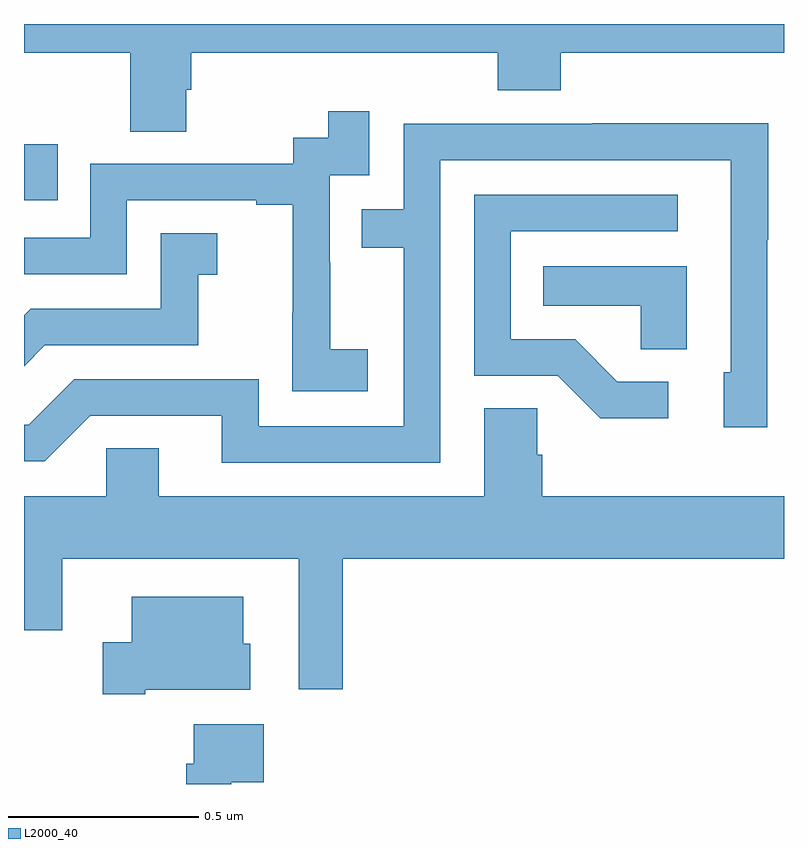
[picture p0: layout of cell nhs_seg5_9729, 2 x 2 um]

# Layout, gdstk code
import gdstk
lib = gdstk.Library(unit=1e-6, precision=1e-09)
def R(c, l, rs):  # rectangles x0, y0, x1, y1
    for r in rs: c.add(gdstk.rectangle(r[:2], r[2:], *l))
def P(c, l, *ps):  # polygons
    for p in ps: c.add(gdstk.Polygon(p, *l))
L2000_40 = (2000, 40)

nhs_seg5_9729 = lib.new_cell('nhs_seg5_9729')
R(nhs_seg5_9729, L2000_40, [(237,892.335,237.089,892.483)])
P(nhs_seg5_9729, L2000_40, [(237.427,892.626),(237.44,892.626),(237.44,892.724),(238.247,892.724),(238.247,892.625),(238.412,892.625),(238.412,892.724),(239,892.724),(239,892.799),(237,892.799),(237,892.724),(237.28,892.724),(237.28,892.516),(237.427,892.516)],
  [(237.904,891.943),(237.806,891.943),(237.806,892.172),(237.804,892.172),(237.804,892.401),(237.909,892.401),(237.909,892.57),(237.801,892.57),(237.801,892.5),(237.708,892.5),(237.708,892.431),(237.174,892.431),(237.174,892.236),(237,892.236),(237,892.14),(237.27,892.14),(237.27,892.335),(237.611,892.335),(237.611,892.323),(237.707,892.323),(237.707,892.039),(237.706,892.039),(237.706,891.833),(237.904,891.833)],
  [(238.095,892.44),(238.86,892.44),(238.86,891.882),(238.841,891.882),(238.841,891.738),(238.956,891.738),(238.956,892.231),(238.959,892.231),(238.959,892.538),(238.495,892.538),(238.495,892.536),(237.999,892.536),(237.999,892.311),(237.889,892.311),(237.889,892.21),(237.999,892.21),(237.999,891.741),(237.618,891.741),(237.618,891.864),(237.132,891.864),(237.012,891.744),(237,891.744),(237,891.648),(237.054,891.648),(237.174,891.768),(237.521,891.768),(237.521,891.645),(238.095,891.645)],
  [(238.696,891.858),(238.561,891.858),(238.45,891.969),(238.281,891.969),(238.281,892.254),(238.72,892.254),(238.72,892.35),(238.185,892.35),(238.185,891.873),(238.404,891.873),(238.517,891.761),(238.696,891.761)],
  [(237.055,891.954),(237.459,891.954),(237.459,892.139),(237.508,892.139),(237.508,892.249),(237.36,892.249),(237.36,892.05),(237.018,892.05),(237,892.032),(237,891.899)],
  [(238.744,892.162),(238.366,892.162),(238.366,892.058),(238.623,892.058),(238.623,891.943),(238.744,891.943)],
  [(237.839,891.392),(239,891.392),(239,891.556),(238.364,891.556),(238.364,891.665),(238.35,891.665),(238.35,891.788),(238.211,891.788),(238.211,891.556),(237.355,891.556),(237.355,891.683),(237.216,891.683),(237.216,891.556),(237,891.556),(237,891.204),(237.1,891.204),(237.1,891.392),(237.723,891.392),(237.723,891.048),(237.839,891.048)],
  [(237.319,891.047),(237.595,891.047),(237.595,891.168),(237.577,891.168),(237.577,891.292),(237.284,891.292),(237.284,891.172),(237.207,891.172),(237.207,891.035),(237.319,891.035)],
  [(237.545,890.804),(237.631,890.804),(237.631,890.956),(237.447,890.956),(237.447,890.852),(237.427,890.852),(237.427,890.799),(237.545,890.799)])

lib.write_gds('nhs_seg5_9729.gds')
